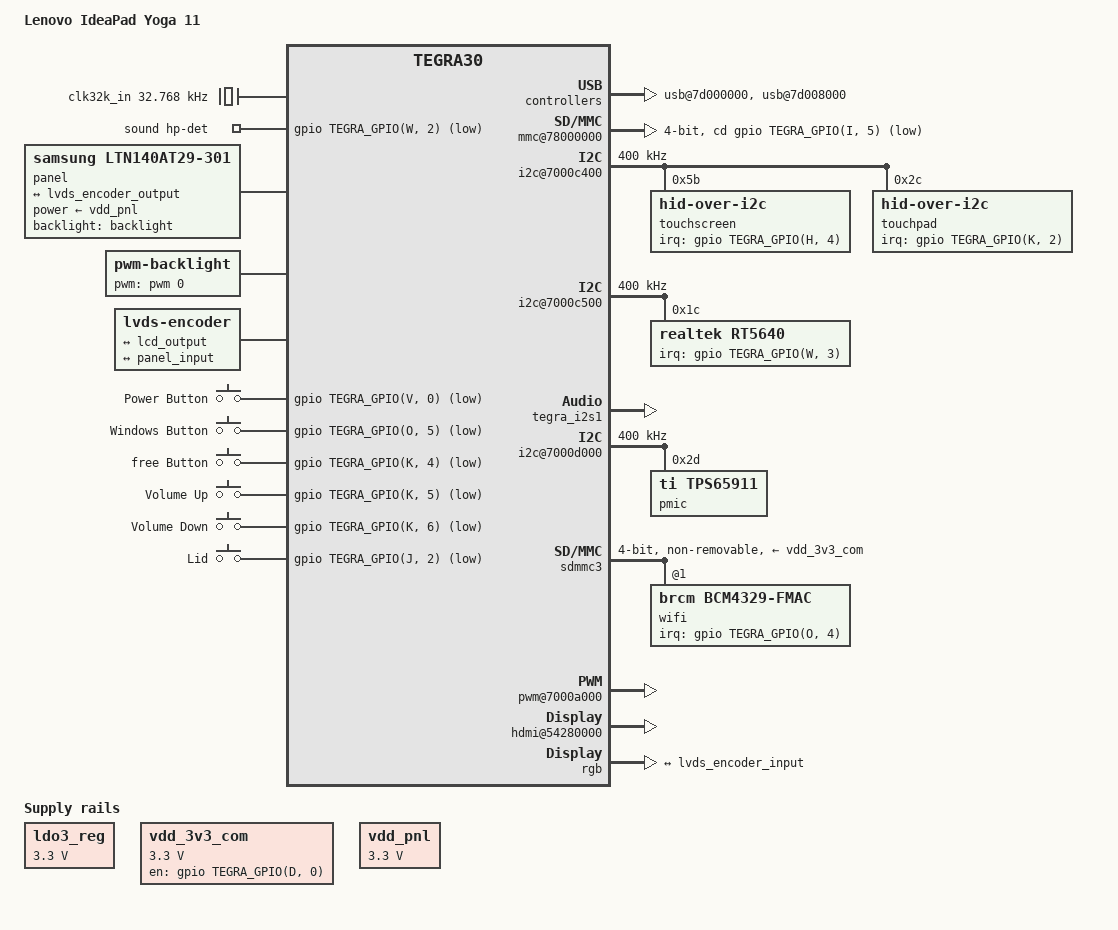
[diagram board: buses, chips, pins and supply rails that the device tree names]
// SPDX-License-Identifier: GPL-2.0

/dts-v1/;

#include <dt-bindings/input/input.h>
#include "tegra30.dtsi"

/ {
	model = "Lenovo IdeaPad Yoga 11";
	compatible = "lenovo,ideapad-yoga-11", "nvidia,tegra30";
	
	aliases {
		mmc1 = &sdmmc1; /* uSD slot */
		rtc0 = &pmic;
		rtc1 = "/rtc@7000e000";
	};
	
	/* clock from PMIC */
	clk32k_in: clock@0 {
		compatible = "fixed-clock";
		clock-frequency = <32768>;
		#clock-cells = <0>;
	};

	usb@7d000000 {
		status = "okay";
	};

	usb-phy@7d000000 {
		status = "okay";
	};
	
	usb@7d008000 {
		status = "okay";
	};

	usb-phy@7d008000 {
		status = "okay";
	};

	mmc@78000000 {
		status = "okay";
		vqmmc-supply = <&ldo3_reg>;
		bus-width = <4>;
		power-gpios = <&gpio TEGRA_GPIO(D, 7) GPIO_ACTIVE_HIGH>;
		cd-gpios = <&gpio TEGRA_GPIO(I, 5) GPIO_ACTIVE_LOW>;
		//wp-gpios = <&gpio TEGRA_GPIO(T, 3) GPIO_ACTIVE_HIGH>;
	};

	ldo3_reg: tps65911-ldo3 {
		compatible = "regulator-fixed";
		regulator-name = "vddio_sdmmc";
		regulator-min-microvolt = <3300000>;
		regulator-max-microvolt = <3300000>;
		regulator-always-on;
	};
	
	i2c@7000c400 {
		status = "okay";
		clock-frequency = <400000>;

		/* Atmel Maxtouch HID over I2C */
		touchscreen@5b {
			compatible = "hid-over-i2c";
			reg = <0x5b>;
			hid-descr-addr = <0x0000>;
			interrupt-parent = <&gpio>;
			interrupts = <TEGRA_GPIO(H, 4) IRQ_TYPE_LEVEL_LOW>;
		};

		/* Touchpad HID over I2C */
		touchpad@2c {
			compatible = "hid-over-i2c";
			reg = <0x2c>;
			hid-descr-addr = <0x0020>;
			interrupt-parent = <&gpio>;
			interrupts = <TEGRA_GPIO(K, 2) IRQ_TYPE_LEVEL_LOW>;
		};
	};
	
	i2c@7000c500 {
		status = "okay";
		clock-frequency = <400000>;
		
		rt5640: audio-codec@1c {
			compatible = "realtek,rt5640";
			reg = <0x1c>;
			interrupt-parent = <&gpio>;
			interrupts = <TEGRA_GPIO(W, 3) IRQ_TYPE_LEVEL_HIGH>;
		};
	};
	
	sound {
		compatible = "nvidia,tegra-audio-rt5640-ideapadYoga11",
			"nvidia,tegra-audio-rt5640";
		nvidia,model = "Lenovo Ideapad Yoga 11";

		nvidia,audio-routing =
			"Headphones", "HPOR",
			"Headphones", "HPOL",
			"Speakers", "SPORP",
			"Speakers", "SPORN",
			"Speakers", "SPOLP",
			"Speakers", "SPOLN";

		nvidia,i2s-controller = <&tegra_i2s1>;
		nvidia,audio-codec = <&rt5640>;

		nvidia,hp-det-gpios = <&gpio TEGRA_GPIO(W, 2) GPIO_ACTIVE_LOW>;

		clocks = <&tegra_car TEGRA30_CLK_PLL_A>,
			 <&tegra_car TEGRA30_CLK_PLL_A_OUT0>,
			 <&tegra_pmc TEGRA_PMC_CLK_OUT_1>;
		clock-names = "pll_a", "pll_a_out0", "mclk";

		assigned-clocks = <&tegra_car TEGRA30_CLK_EXTERN1>,
				  <&tegra_pmc TEGRA_PMC_CLK_OUT_1>;

		assigned-clock-parents = <&tegra_car TEGRA30_CLK_PLL_A_OUT0>,
					 <&tegra_car TEGRA30_CLK_EXTERN1>;
	};

	ahub@70080000 {
		// 0
		tegra_i2s0: i2s@70080300 {
			status = "disabled";
		};

		// 1
		tegra_i2s1: i2s@70080400 {
			status = "okay";
		};

		// 2
		tegra_i2s2: i2s@70080500 {
			status = "disabled";
		};

		// 3
		tegra_i2s3: i2s@70080600 {
			status = "disabled";
		};

		// 4
		tegra_i2s4: i2s@70080700 {
			status = "disabled";
		};
	};
	
	i2c@7000d000 {
		status = "okay";
		clock-frequency = <400000>;

		// Right now only for RealTimeClock
		pmic: tps65911@2d {
			compatible = "ti,tps65911";
			reg = <0x2d>;

			interrupts = <GIC_SPI 86 IRQ_TYPE_LEVEL_HIGH>;
			#interrupt-cells = <2>;
			interrupt-controller;

			ti,system-power-controller;

			#gpio-cells = <2>;
			gpio-controller;

			/*
			regulators {
				ldo3_reg: ldo3 {
					regulator-name = "vddio_sdmmc";
					regulator-min-microvolt = <1800000>;
					regulator-max-microvolt = <3300000>;
					regulator-always-on;
				};
			};
			*/
		};
	};
	
	sdmmc3: mmc@78000400 {
		status = "okay";

		#address-cells = <1>;
		#size-cells = <0>;

		assigned-clocks = <&tegra_car TEGRA30_CLK_SDMMC3>;
		assigned-clock-parents = <&tegra_car TEGRA30_CLK_PLL_C>;
		assigned-clock-rates = <50000000>;

		max-frequency = <50000000>;
		keep-power-in-suspend;
		bus-width = <4>;
		non-removable;

		mmc-pwrseq = <&brcm_wifi_pwrseq>;
		vmmc-supply = <&vdd_3v3_com>;

		/* Azurewave AW-NH615 BCM4329 or AW-NH665 BCM4330 */
		wifi@1 {
			compatible = "brcm,bcm4329-fmac";
			reg = <1>;

			interrupt-parent = <&gpio>;
			interrupts = <TEGRA_GPIO(O, 4) IRQ_TYPE_LEVEL_HIGH>;
			interrupt-names = "host-wake";
		};
	};

	brcm_wifi_pwrseq: wifi-pwrseq {
		compatible = "mmc-pwrseq-simple";

		clocks = <&tegra_pmc TEGRA_PMC_CLK_BLINK>;
		clock-names = "ext_clock";

		post-power-on-delay-ms = <300>;
		power-off-delay-us = <300>;
	};

	vdd_3v3_com: regulator@7 {
		compatible = "regulator-fixed";
		regulator-name = "vdd_3v3_com";
		regulator-min-microvolt = <3300000>;
		regulator-max-microvolt = <3300000>;
		regulator-always-on;
		gpio = <&gpio TEGRA_GPIO(D, 0) GPIO_ACTIVE_HIGH>;
		enable-active-high;
	};
	
	pinmux@70000868 {
		pinctrl-names = "default";
		pinctrl-0 = <&state_default>;

		state_default: pinmux {
			/* HDMI HOTPLUG_DETECT */
			/*hdmi-int-pn7 {
				nvidia,pins = "hdmi_int_pn7";
				nvidia,function = "hdmi";
				nvidia,pull = <TEGRA_PIN_PULL_NONE>;
				nvidia,tristate = <TEGRA_PIN_ENABLE>;
				nvidia,enable-input = <TEGRA_PIN_ENABLE>;
			};*/
			
			/* Backlight PWM */
			/*gmi-ad8-ph0 {
				nvidia,pins = "gmi_ad8_ph0";
				nvidia,function = "pwm0";
				nvidia,pull = <TEGRA_PIN_PULL_NONE>;
				nvidia,tristate = <TEGRA_PIN_DISABLE>;
				nvidia,enable-input = <TEGRA_PIN_DISABLE>;
			};*/
		};
	};

	panel: display-panel {
		compatible = "samsung,ltn140at29-301";

		power-supply = <&vdd_pnl>;
		backlight = <&backlight>;

		port {
			panel_input: endpoint {
				remote-endpoint = <&lvds_encoder_output>;
			};
		};
	};

	vdd_pnl: vdd-panel {
		compatible = "regulator-fixed";
		regulator-name = "vdd_panel";
		regulator-min-microvolt = <3300000>;
		regulator-max-microvolt = <3300000>;
		regulator-boot-on;
		regulator-always-on;
		//gpio = <&gpio TEGRA_GPIO(L, 4) GPIO_ACTIVE_HIGH>;
		enable-active-high;
	};

	backlight: backlight {
		compatible = "pwm-backlight";
		//enable-gpios = <&gpio TEGRA_GPIO(H, 2) GPIO_ACTIVE_HIGH>;
		pwms = <&pwm 0 50000>;
		brightness-levels = <1 255>;
		num-interpolated-steps = <254>;
		default-brightness-level = <128>;
	};

	pwm@7000a000 {
		status = "okay";
	};

	host1x@50000000 {
		hdmi@54280000 {
			status = "okay";
			//nvidia,ddc-i2c-bus = <&hdmi_ddc>;
			nvidia,hpd-gpio = <&gpio TEGRA_GPIO(N, 7) GPIO_ACTIVE_HIGH>;
		};

		dc@54200000 {
			rgb {
				status = "okay";

				port@0 {
					lcd_output: endpoint {
						remote-endpoint = <&lvds_encoder_input>;
						bus-width = <24>;
					};
				};
			};
		};
	};

	lvds-encoder {
		compatible = "lvds-encoder";

		//powerdown-gpios = <&gpio TEGRA_GPIO(C, 1) GPIO_ACTIVE_LOW>;

		ports {
			#address-cells = <1>;
			#size-cells = <0>;

			port@0 {
				reg = <0>;

				lvds_encoder_input: endpoint {
					remote-endpoint = <&lcd_output>;
				};
			};

			port@1 {
				reg = <1>;

				lvds_encoder_output: endpoint {
					remote-endpoint = <&panel_input>;
				};
			};
		};
	};
	
	kbc@7000e200 {
		status = "okay";
		nvidia,debounce-delay-ms = <2>;
		nvidia,repeat-delay-ms = <160>;
		nvidia,kbc-row-pins = <0 1 2 3 4 5 6 7 8 9 10 11 12 13 14 15>;
		nvidia,kbc-col-pins = <16 17 18 19 20 21 22 23>;

		linux,keymap = <
				MATRIX_KEY(0x00, 0x01, KEY_TAB)
				MATRIX_KEY(0x00, 0x02, KEY_GRAVE)
				MATRIX_KEY(0x00, 0x03, KEY_1)
				MATRIX_KEY(0x00, 0x04, KEY_Q)
				MATRIX_KEY(0x00, 0x05, KEY_A)

				MATRIX_KEY(0x01, 0x06, KEY_RIGHTALT)			
				MATRIX_KEY(0x01, 0x07, KEY_LEFTALT)

				MATRIX_KEY(0x02, 0x00, KEY_F3)
				MATRIX_KEY(0x02, 0x01, KEY_F4)
				MATRIX_KEY(0x02, 0x02, KEY_CAPSLOCK)
				MATRIX_KEY(0x02, 0x03, KEY_3)
				MATRIX_KEY(0x02, 0x04, KEY_E)
				MATRIX_KEY(0x02, 0x05, KEY_D)
				MATRIX_KEY(0x02, 0x06, KEY_C)
				MATRIX_KEY(0x02, 0x07, KEY_SPACE)

				MATRIX_KEY(0x03, 0x00, KEY_F2)
				MATRIX_KEY(0x03, 0x01, KEY_F1)
				MATRIX_KEY(0x03, 0x02, KEY_ESC)
				MATRIX_KEY(0x03, 0x03, KEY_2)
				MATRIX_KEY(0x03, 0x04, KEY_W)
				MATRIX_KEY(0x03, 0x05, KEY_S)
				MATRIX_KEY(0x03, 0x06, KEY_X)
				MATRIX_KEY(0x03, 0x07, KEY_Z)

				MATRIX_KEY(0x04, 0x00, KEY_LEFTCTRL)

				MATRIX_KEY(0x05, 0x00, KEY_G)
				MATRIX_KEY(0x05, 0x01, KEY_T)
				MATRIX_KEY(0x05, 0x02, KEY_5)
				MATRIX_KEY(0x05, 0x03, KEY_4)
				MATRIX_KEY(0x05, 0x04, KEY_R)
				MATRIX_KEY(0x05, 0x05, KEY_F)
				MATRIX_KEY(0x05, 0x06, KEY_V)
				MATRIX_KEY(0x05, 0x07, KEY_B)

				MATRIX_KEY(0x06, 0x00, KEY_H)
				MATRIX_KEY(0x06, 0x01, KEY_Y)
				MATRIX_KEY(0x06, 0x02, KEY_6)
				MATRIX_KEY(0x06, 0x03, KEY_7)
				MATRIX_KEY(0x06, 0x04, KEY_U)
				MATRIX_KEY(0x06, 0x05, KEY_J)
				MATRIX_KEY(0x06, 0x06, KEY_M)
				MATRIX_KEY(0x06, 0x07, KEY_N)

				MATRIX_KEY(0x07, 0x01, KEY_F11)
				MATRIX_KEY(0x07, 0x02, KEY_F10)
				MATRIX_KEY(0x07, 0x03, KEY_9)
				MATRIX_KEY(0x07, 0x04, KEY_O)
				MATRIX_KEY(0x07, 0x05, KEY_L)
				MATRIX_KEY(0x07, 0x06, KEY_DOT)
				MATRIX_KEY(0x07, 0x07, KEY_DOWN)

				MATRIX_KEY(0x08, 0x04, KEY_RIGHTSHIFT)
				MATRIX_KEY(0x08, 0x05, KEY_LEFTSHIFT)

				MATRIX_KEY(0x09, 0x00, KEY_F7)
				MATRIX_KEY(0x09, 0x01, KEY_F6)
				MATRIX_KEY(0x09, 0x02, KEY_F5)
				MATRIX_KEY(0x09, 0x03, KEY_8)
				MATRIX_KEY(0x09, 0x04, KEY_I)
				MATRIX_KEY(0x09, 0x05, KEY_K)
				MATRIX_KEY(0x09, 0x06, KEY_COMMA)

				MATRIX_KEY(0x0A, 0x00, KEY_F8)
				MATRIX_KEY(0x0A, 0x01, KEY_F9)
				MATRIX_KEY(0x0A, 0x02, KEY_BACKSLASH)
				MATRIX_KEY(0x0A, 0x03, KEY_102ND)
				MATRIX_KEY(0x0A, 0x04, KEY_COMPOSE)
				MATRIX_KEY(0x0A, 0x05, KEY_LEFT)

				MATRIX_KEY(0x0B, 0x00, KEY_RIGHTCTRL)
				MATRIX_KEY(0x0B, 0x03, KEY_FN)

				MATRIX_KEY(0x0C, 0x02, KEY_LEFTMETA)

				MATRIX_KEY(0x0D, 0x00, KEY_MINUS)
				MATRIX_KEY(0x0D, 0x02, KEY_0)
				MATRIX_KEY(0x0D, 0x03, KEY_P)
				MATRIX_KEY(0x0D, 0x04, KEY_LEFTBRACE)
				MATRIX_KEY(0x0D, 0x05, KEY_SEMICOLON)
				MATRIX_KEY(0x0D, 0x06, KEY_SLASH)
				MATRIX_KEY(0x0D, 0x07, KEY_UP)

				MATRIX_KEY(0x0E, 0x01, KEY_PRINT)
				MATRIX_KEY(0x0E, 0x02, KEY_EQUAL)
				MATRIX_KEY(0x0E, 0x03, KEY_BACKSPACE)
				MATRIX_KEY(0x0E, 0x04, KEY_RIGHTBRACE)
				MATRIX_KEY(0x0E, 0x06, KEY_APOSTROPHE)
				MATRIX_KEY(0x0E, 0x07, KEY_ENTER)

				MATRIX_KEY(0x0F, 0x02, KEY_DELETE)
				MATRIX_KEY(0x0F, 0x03, KEY_PAGEUP)
				MATRIX_KEY(0x0F, 0x04, KEY_INSERT)
				MATRIX_KEY(0x0F, 0x05, KEY_F12)
				MATRIX_KEY(0x0F, 0x06, KEY_PAGEDOWN)
				MATRIX_KEY(0x0F, 0x07, KEY_RIGHT)

				/////////////////////////////////////////
				//////////////// FN KEYS ////////////////
				/////////////////////////////////////////
				// don't work right now. check for dmesg errors

				MATRIX_KEY(0x12, 0x00, KEY_VOLUMEUP) // F3
				MATRIX_KEY(0x12, 0x01, KEY_F4) // F4

				MATRIX_KEY(0x13, 0x00, KEY_VOLUMEDOWN) // F2
				MATRIX_KEY(0x13, 0x01, KEY_MUTE) // F1

				MATRIX_KEY(0x17, 0x01, KEY_BRIGHTNESSDOWN) // F11
				MATRIX_KEY(0x17, 0x02, KEY_F10) // F10

				MATRIX_KEY(0x19, 0x00, KEY_F7) // F7
				MATRIX_KEY(0x19, 0x01, KEY_TOUCHPAD_TOGGLE) // F6
				MATRIX_KEY(0x19, 0x02, KEY_F5) // F5

				MATRIX_KEY(0x1F, 0x05, KEY_BRIGHTNESSUP) // F12

				MATRIX_KEY(0x1F, 0x03, KEY_HOME) // PAGEUP
				MATRIX_KEY(0x1F, 0x06, KEY_END) // PAGEDOWN
				>;
	};
	
	gpio-keys {
		compatible = "gpio-keys";

		label = "GPIO Buttons";

		power {
			label = "Power Button";
			gpios = <&gpio TEGRA_GPIO(V, 0) GPIO_ACTIVE_LOW>;
			linux,code = <KEY_POWER>;
			debounce-interval = <10>;
			wakeup-source;
		};

		windows-button {
			label = "Windows Button";
			gpios = <&gpio TEGRA_GPIO(O, 5) GPIO_ACTIVE_LOW>;
			linux,code = <KEY_LEFTMETA>;
			debounce-interval = <10>;
			wakeup-source;
		};
		
		magic-button {
			label = "free Button";
			gpios = <&gpio TEGRA_GPIO(K, 4) GPIO_ACTIVE_LOW>;
			linux,code = <KEY_LEFTMETA>;
			debounce-interval = <10>;
		};

		volume-up {
			label = "Volume Up";
			gpios = <&gpio TEGRA_GPIO(K, 5) GPIO_ACTIVE_LOW>;
			linux,code = <KEY_VOLUMEUP>;
			debounce-interval = <10>;
		};

		volume-down {
			label = "Volume Down";
			gpios = <&gpio TEGRA_GPIO(K, 6) GPIO_ACTIVE_LOW>;
			linux,code = <KEY_VOLUMEDOWN>;
			debounce-interval = <10>;
		};
		
		lid {
			label = "Lid";
			gpios = <&gpio TEGRA_GPIO(J, 2) GPIO_ACTIVE_LOW>;
			linux,code = <SW_LID>;
			debounce-interval = <10>;
			wakeup-source;
		};
	};
};
